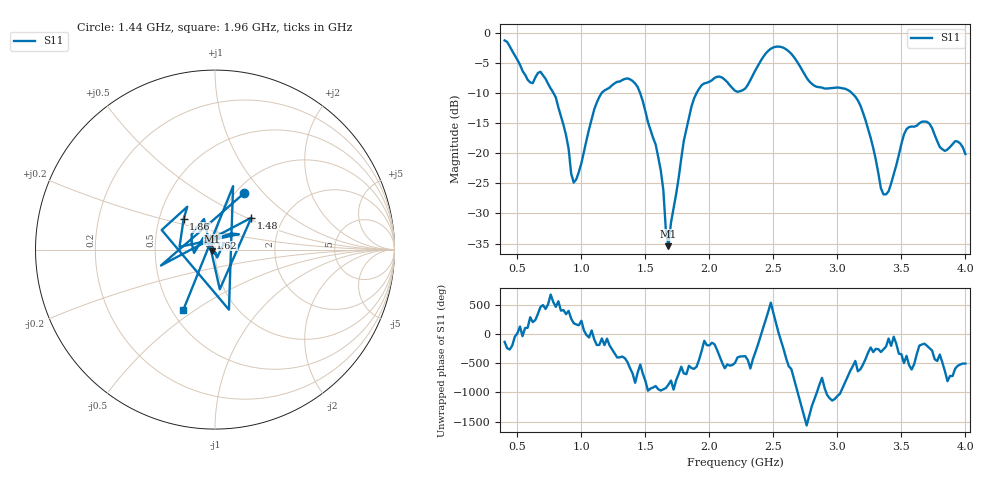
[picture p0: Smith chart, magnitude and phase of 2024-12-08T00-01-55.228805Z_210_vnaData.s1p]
!Created with skrf (http://scikit-rf.org).
# Hz S RI R 50.0
!freq ReS11 ImS11
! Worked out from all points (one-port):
!   181 points, 400 MHz to 4 GHz, reference 50 ohm
!   lowest |S11| = -35.4 dB at 1.68 GHz (marker M1), VSWR 1.03, Z = 48.6 - j0.895 ohm
!   |S11| at or under -10 dB: 781.6 MHz to 1.158 GHz (376.8 MHz wide, 38.8 % of centre); 1.459 GHz to 1.9 GHz (441.1 MHz wide, 26.3 % of centre); 3.112 GHz to end of sweep
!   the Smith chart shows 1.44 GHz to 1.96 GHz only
!   S11 on the Smith chart (normalised r, x): 1.44 GHz: 1.09, +0.78; 1.48 GHz: 1.39, +0.53; 1.62 GHz: 0.94, +0.13; 1.86 GHz: 0.67, +0.24; 1.96 GHz: 0.57, -0.45
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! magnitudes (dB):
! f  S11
! 400 MHz  -1.3
! 600 MHz  -8.2
! 720 MHz  -7.7
! 860 MHz  -15.3
! 940 MHz  -24.9
! 1.14 GHz  -10.7
! 1.3 GHz  -8.1
! 1.44 GHz  -9.0
! 1.48 GHz  -11.4
! 1.62 GHz  -22.8
! 1.68 GHz  -35.4
! 1.76 GHz  -24.1
! 1.86 GHz  -12.3
! 1.96 GHz  -8.4
! 2.08 GHz  -7.3
! 2.2 GHz  -9.6
! 2.48 GHz  -2.7
! 2.66 GHz  -4.0
! 2.82 GHz  -8.8
! 3.1 GHz  -9.8
! 3.22 GHz  -14.5
! 3.36 GHz  -26.8
! 3.4 GHz  -26.3
! 3.56 GHz  -15.7
! 3.7 GHz  -14.8
! 3.82 GHz  -19.3
! 3.94 GHz  -18.1
! 4 GHz  -20.1
